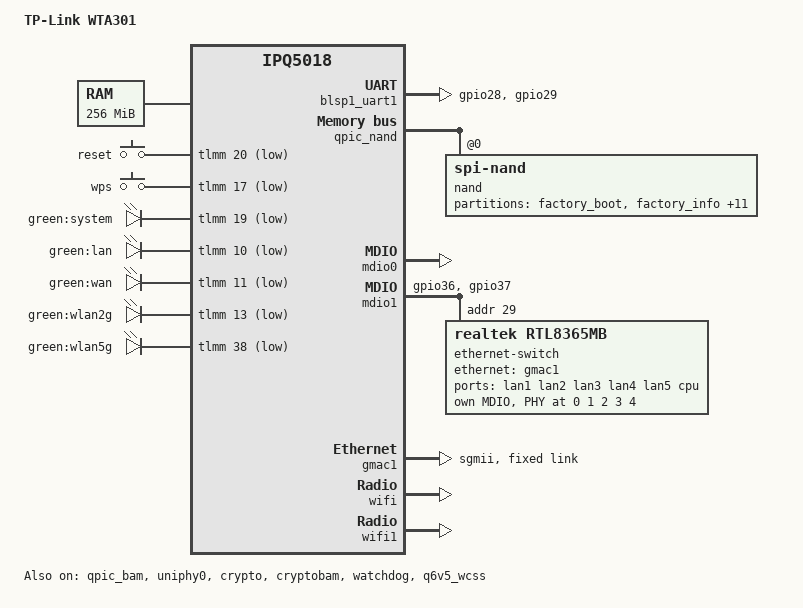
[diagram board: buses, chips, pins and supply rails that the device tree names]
// SPDX-License-Identifier: GPL-2.0-or-later OR MIT
/*
 * TP-Link WTA301 v1.1 (China Telecom AX3000)
 *
 * SoC:     Qualcomm IPQ5018 (2x Cortex-A53), 256 MiB DDR3, 128 MiB SPI-NAND
 * Switch:  Realtek RTL8367S, 5x GE front jacks, SGMII 1G trunk to gmac1
 * WiFi:    IPQ5018 internal 2.4 GHz + QCN6122 5 GHz (WCSS MPD, no PCIe)
 *
 * PROVENANCE - read before editing.
 *
 * Every value below was taken from the device tree of a WTA301 that boots and
 * runs on this board (the DTB inside the working 20,447,232-byte slot image,
 * md5 7b2996ac26e90ffed479ee19c8e0473d, built 2026-11-01 19:16).  It was NOT
 * taken from the earlier draft sources that were lying around in the tree
 * (work/op-build/dts/ipq5018-wta301.dts and its archives): those are a
 * REGRESSED copy and differ from the working board in four separate ways -
 * wifi1 disabled, 4 front ports instead of 5, 2500base-x instead of sgmii/1G,
 * and kernel/rootfs partition sizes of 0x480000/0xbc0000 instead of
 * 0x400000/0xb00000.  Trust the DTB, never those files.
 *
 * Deliberately carried over unchanged from that DTB (do not "fix" them):
 *   - reserved-memory: tz_region 4 MiB, q6_region 0x4b000000 + 0x3400000.
 *     No separate per-PD reserved regions: ath11k 6.18 resolves neither
 *     `memory-region` nor `qcom,bdf-addr` on ipq5018 (fixed_fw_mem = false,
 *     fixed_bdf_addr = true, see ath11k/core.c hw params), so the firmware
 *     gets its carveouts from TZ.  Keeping the stock layout is therefore
 *     zero-risk and saves the guessing.
 *   - nand-ecc-strength = 8 / step-size 512: the value the working DTB uses
 *     and the one this board's NAND actually needs.
 *   - SGMII at 1 Gbit on the RTL8367S trunk.  2.5G HSGMII does not come up on
 *     this board; every attempt to raise it lost the link.
 *   - No `reset-gpios` on the switch node: the bootloader brings the RTL8367S
 *     out of reset and the kernel must not touch it.
 *   - `mdio-ahb-clk`: mdio1 is fed by a 100 MHz fixed clock, not by gcc.
 *
 * v24 DELTAS vs that DTB - exactly four, nothing else:
 *   D1  ipq5018-nss.dtsi included, &nss_region pinned to 8 MiB
 *       (patch 0818 in the target defaults it to 16 MiB for 512 MB boards)
 *   D2  qcom,ath11k-fw-memory-mode = <2> on both radios (was <1>); mode 2 is
 *       what disables coldboot calibration and saves the ~64 MB
 *   D3  coherent_pool = 512K (was 2M); safe on 6.18 because
 *       mdt_load_split_segment() uses request_firmware_into_buf() and no
 *       longer bounces segments through the atomic DMA pool
 *   D4  &wifi1 explicitly `okay` (it is okay in the DTB as well - stating it
 *       here so a future edit cannot silently drop the 5 GHz radio)
 * v25.12.6 (kernel 6.12.112) ADAPTATION - the six changes below, nothing else
 * -------------------------------------------------------------------------
 * This file was carried over from the S7 tree (kernel 6.18.55). For 25.12.6 the
 * ethernet DT comes from a different place, so the includes and two reserved
 * regions change.  Everything else is byte-identical to the proven S7 DTS.
 *
 *   A1  "ipq5018-ess.dtsi" (25.12.6 ships the QSDK ESS+NSS switch version, it
 *       does NOT define &gmac0/&gmac1) is replaced by our "ipq5018-gmac.dtsi",
 *       which defines the two mainline DWMAC nodes, gmac1 with
 *       pcs-handle = <&uniphy0>.  See docs/M03 / R14.
 *   A2  "ipq5018-nss.dtsi" dropped: 25.12.6 has no NSS/EDMA at all (no
 *       kmod-qca-nss-dp, no nss_region label) and we decided pure-CPU
 *       forwarding.  &nss_region override goes away with it.
 *   A3  6.12 ipq5018.dtsi defaults differ from 6.18.55: crypto/cryptobam/
 *       watchdog are disabled upstream, S7 runs them enabled -> stated here
 *       explicitly so the board keeps today's behaviour (docs/M09).
 *   A4  pcie0/pcie1 stated disabled on purpose: QCN6122 is NOT a PCIe device
 *       on this board, it is a WCSS user PD (docs/M09).  Without this, anyone
 *       copying a Linksys/IPQ5018 board file re-enables PCIe and the 5 GHz
 *       radio stops probing.
 *   A5  coherent_pool 2M (the v24 *source* text said 512K, but the DTB that
 *       actually ran on the board has 2M - the source had drifted.  We follow
 *       the DTB, not the source text.)
 *   A6  partition table and bootargs taken from the S7 DTB, not from the v24
 *       source text: rootfs_data -> rootfs_data2, plus rootfs_data3
 *       (0x1bc0000 + 0x2440000, the live UBI overlay named "wta301data"),
 *       and no tp_header/tp_header_bak nodes (those two overlap a live slot
 *       and are absent from the running system).  13 partitions, rootfs still
 *       index 6 so root=/dev/mtdblock6 keeps working.
 *       Lesson (again): T2 actual DTB != source dts - see AGENTS-CASES 9jqrphw.
 */

/dts-v1/;

#include "ipq5018.dtsi"
#include "ipq5018-gmac.dtsi"
#include "ipq5018-qcn6122.dtsi"

#include <dt-bindings/gpio/gpio.h>
#include <dt-bindings/input/input.h>
#include <dt-bindings/leds/common.h>

/ {
	model = "TP-Link WTA301";
	compatible = "tplink,wta301", "qcom,ipq5018";

	aliases {
		serial0 = &blsp1_uart1;
		led-boot = &led_system;
		led-failsafe = &led_system;
		led-running = &led_system;
		led-upgrade = &led_system;
	};

	chosen {
		stdout-path = "serial0:115200n8";
		/*
		 * The stock U-Boot injects its own fsbootargs for the ubi.mtd
		 * layout; /chosen/bootargs-append is parsed after it and the
		 * last "root=" wins, so this decides where the kernel mounts.
		 * Slot A's rootfs is a plain squashfs on mtd6, exactly like the
		 * stock TP-Link rootfs - never name a ubi.mtd= partition here,
		 * mtd7/mtd12 belong to the stock overlay and its backup.
		 */
		bootargs-append = " root=/dev/mtdblock6 rootfstype=squashfs rootwait coherent_pool=2M ubi.mtd=rootfs_data3 fstools_overlay_name=wta301data";
	};

	memory@40000000 {
		device_type = "memory";
		reg = <0x0 0x40000000 0x0 0x10000000>;
	};

	keys {
		compatible = "gpio-keys";
		pinctrl-0 = <&button_pins>;
		pinctrl-names = "default";

		/* stock pinctrl "button_pins": wps=gpio17, reset=gpio20 */
		key-reset {
			label = "reset";
			gpios = <&tlmm 20 GPIO_ACTIVE_LOW>;
			linux,code = <KEY_RESTART>;
		};

		key-wps {
			label = "wps";
			gpios = <&tlmm 17 GPIO_ACTIVE_LOW>;
			linux,code = <KEY_WPS_BUTTON>;
		};
	};

	leds {
		compatible = "gpio-leds";
		pinctrl-0 = <&led_pins>;
		pinctrl-names = "default";

		/*
		 * The stock firmware drives the LEDs from userspace (dms), so
		 * /sys/class/leds was empty and the mapping comes from
		 * /sys/kernel/debug/gpio plus the stock pinctrl node names.
		 */
		led_system: led-19 {
			label = "green:system";
			gpios = <&tlmm 19 GPIO_ACTIVE_LOW>;
		};

		led-10 {
			label = "green:lan";
			gpios = <&tlmm 10 GPIO_ACTIVE_LOW>;
		};

		led-11 {
			label = "green:wan";
			gpios = <&tlmm 11 GPIO_ACTIVE_LOW>;
		};

		led-13 {
			label = "green:wlan2g";
			gpios = <&tlmm 13 GPIO_ACTIVE_LOW>;
		};

		led-38 {
			label = "green:wlan5g";
			gpios = <&tlmm 38 GPIO_ACTIVE_LOW>;
		};
	};

	/*
	 * mdio1 is clocked from here, not from gcc: with GCC_MDIO_AHB_CLK the
	 * RTL8367S never answers SMI (chip id reads back -ETIMEDOUT).
	 */
	mdio_ahb_clk: mdio-ahb-clk {
		compatible = "fixed-clock";
		#clock-cells = <0>;
		clock-frequency = <100000000>;
	};
};

/* 256 MB board: the stock layout is 4 MiB TZ and one 52 MiB WCSS carveout for
 * both user PDs.  6.12's ipq5018.dtsi defaults are 2 MiB / 27 MiB (and
 * ipq5018-qcn6122.dtsi raises q6_region to 48 MiB) - neither is enough here:
 * 2 MiB of TZ walks into the secure region, 48 MiB leaves the 2.4G firmware
 * with no room next to the 5G one.  docs/M07.
 */
&tz_region {
	reg = <0x0 0x4ac00000 0x0 0x400000>;
};

&q6_region {
	reg = <0x0 0x4b000000 0x0 0x3400000>;
};

&blsp1_uart1 {
	pinctrl-0 = <&serial_0_pins>;
	pinctrl-names = "default";
	status = "okay";
};

/*
 * The QPIC BAM DMA engine is "disabled" in ipq5018.dtsi by default and every
 * working IPQ board turns it on explicitly.  Without it qcom_snand fails with
 *   "qcom_snand: tx DMA channel request failed"
 * and the whole NAND (all 15 mtd partitions) never appears.
 */
&qpic_bam {
	status = "okay";
};

&qpic_nand {
	status = "okay";

	nand-ecc-strength = <8>;
	nand-ecc-step-size = <512>;

	nand@0 {
		compatible = "spi-nand";
		reg = <0>;

		nand-ecc-engine = <&qpic_nand>;
		nand-ecc-strength = <8>;
		nand-ecc-step-size = <512>;
		nand-bus-width = <8>;

		/*
		 * Hard-coded to reproduce the stock /proc/mtd numbering.  Do
		 * NOT switch this to qcom,smem-part: OpenWrt's qcomsmempart
		 * reads the u-boot published Qualcomm generic table
		 * (0:sbl1 / 0:mibib / 0:qsee / ... / rootfs / rootfs_1), not
		 * TP-Link's table, and then there is no mtd6 at all.
		 *
		 * Baseline: the offset/size pairs below are byte-identical to the
		 * factory partition table embedded in the 512-byte TP header at
		 * 0x04800000 (slot A) and 0x00800000 (slot B) of
		 * work/backup/flash_full_128M.bin.  Both headers carry the same
		 * 9 entries; slot B only differs in the four slot-relative
		 * offsets.  See work/v24-nss/P1.2-FACTORY-BASELINE-VERIFY.md.
		 *
		 * Entry ORDER matters: rootfs must stay at index 6 because the
		 * bootargs hardcode root=/dev/mtdblock6.  fixed-partitions
		 * registers children in device-tree order, not by address.
		 *
		 * U-Boot hardcodes these absolute offsets (never move them):
		 *   0x04000000  boot flag (magic 'UABF' = 55 AA 42 46)
		 *   0x04800000  firmware slot A (boot flag == 2)
		 *   0x00800000  firmware slot B (any other value)
		 * and reads the kernel FIT using the offset/size stored in the
		 * 512-byte TP header at the start of the selected slot.
		 *
		 * Deliberately NOT modelled (they are inventions of the earlier
		 * local port, absent from the factory table, and they overlap
		 * kernel+rootfs+rootfs_data): firmware@4800000 0x2620000,
		 * firmware-bak@800000 0x2620000, rootfs-data-bak@6a00000.
		 * Writing any of them would detroy a live slot.
		 */
		partitions {
			compatible = "fixed-partitions";
			#address-cells = <1>;
			#size-cells = <1>;

			factory-boot@0 {
				label = "factory_boot";
				reg = <0x0 0x3c0000>;
			};

			factory-info@400000 {
				label = "factory_info";
				reg = <0x400000 0x20000>;
			};

			art@480000 {
				label = "art";
				reg = <0x480000 0x20000>;
			};

			config@500000 {
				label = "config";
				reg = <0x500000 0x200000>;
			};

			normal-boot@4700000 {
				label = "normal_boot";
				reg = <0x4700000 0x40000>;
			};

			kernel@4880000 {
				label = "kernel";
				reg = <0x4880000 0x400000>;
			};

			rootfs@4fc0000 {
				label = "rootfs";
				reg = <0x4fc0000 0xc00000>;
			};

			/*
			 * Named rootfs_data2 (not rootfs_data) on purpose: fstools'
			 * mount_root looks for a partition named rootfs_data and would
			 * otherwise land on the 0xe0000 mtdsplit stub at the tail of
			 * the squashfs.  Naming it rootfs_data2 leaves "rootfs_data3"
			 * free to be the real overlay (UBI volume "wta301data"), which
			 * is what /chosen/bootargs-append points fstools at.
			 * This is v19-fix5's fix, proven on the board.
			 */
			rootfs-data@6a00000 {
				label = "rootfs_data2";
				reg = <0x6a00000 0x1600000>;
			};

			normal-boot-bak@700000 {
				label = "normal_boot_bak";
				reg = <0x700000 0x40000>;
			};

			kernel-bak@880000 {
				label = "kernel_bak";
				reg = <0x880000 0x400000>;
			};

			rootfs-bak@fc0000 {
				label = "rootfs_bak";
				reg = <0xfc0000 0xc00000>;
			};

			/* the live overlay: UBI, one volume "wta301data" */
			rootfs-data3@1bc0000 {
				label = "rootfs_data3";
				reg = <0x1bc0000 0x2440000>;
			};

			boot-flag@4000000 {
				label = "boot_flag";
				reg = <0x4000000 0x20000>;
			};
		};
	};
};

&mdio0 {
	/* internal GE PHY; enabled because GCC_GEPHY_MISC_ARES gates MDIO */
	status = "okay";
};

&mdio1 {
	status = "okay";
	clocks = <&mdio_ahb_clk>;
	pinctrl-0 = <&mdio1_pins>;
	pinctrl-names = "default";

	ethernet-switch@1d {
		compatible = "realtek,rtl8365mb";
		reg = <0x1d>;
		#address-cells = <1>;
		#size-cells = <0>;

		mdio {
			compatible = "realtek,smi-mdio";
			#address-cells = <1>;
			#size-cells = <0>;

			switchphy0: ethernet-phy@0 {
				reg = <0>;
			};

			switchphy1: ethernet-phy@1 {
				reg = <1>;
			};

			switchphy2: ethernet-phy@2 {
				reg = <2>;
			};

			switchphy3: ethernet-phy@3 {
				reg = <3>;
			};

			switchphy4: ethernet-phy@4 {
				reg = <4>;
			};
		};

		ports {
			#address-cells = <1>;
			#size-cells = <0>;

			port@0 {
				reg = <0>;
				label = "lan1";
				phy-handle = <&switchphy0>;
			};

			port@1 {
				reg = <1>;
				label = "lan2";
				phy-handle = <&switchphy1>;
			};

			port@2 {
				reg = <2>;
				label = "lan3";
				phy-handle = <&switchphy2>;
			};

			port@3 {
				reg = <3>;
				label = "lan4";
				phy-handle = <&switchphy3>;
			};

			port@4 {
				reg = <4>;
				label = "lan5";
				phy-handle = <&switchphy4>;
			};

			port@6 {
				reg = <6>;
				label = "cpu";
				phy-mode = "sgmii";
				ethernet = <&gmac1>;

				fixed-link {
					speed = <1000>;
					full-duplex;
				};
			};
		};
	};
};

&uniphy0 {
	status = "okay";

	assigned-clocks = <&uniphy0 UNIPHY_CLK_REF>;
	assigned-clock-rates = <UNIPHY_REFCLK_25MHZ>;
};

&gmac1 {
	status = "okay";
	phy-mode = "sgmii";

	fixed-link {
		speed = <1000>;
		full-duplex;
	};
};

/*
 * Crypto / RNG / watchdog: 6.18.55's ipq5018.dtsi leaves crypto and watchdog
 * "okay" while 6.12.112's leaves every one of them "disabled".  S7 runs with
 * them on, so state it here - otherwise the board silently loses /dev/watchdog
 * (and the crypto engine) even though both drivers are built in
 * (CRYPTO_DEV_QCE=y, QCOM_WDT=y).  docs/M09.
 */
&crypto {
	status = "okay";
};

&cryptobam {
	status = "okay";
};

&watchdog {
	status = "okay";
};

/*
 * No PCIe on this SKU.  QCN6122 (5 GHz) is a WCSS user PD, not a PCIe card:
 * the S7 board runs both radios with pcie0/pcie1 disabled.  Stated explicitly
 * so that copying a Linksys SPNMX56 / MX5500 board file cannot turn it on.
 */
&pcie0 {
	status = "disabled";
};

&pcie1 {
	status = "disabled";
};

/*
 * One multi-PD Q6 image: PD1 = IPQ5018 2.4 GHz (UPD 3, reset gpio 15),
 * PD2 = QCN6122 5 GHz (UPD 2, reset gpio 27).
 */
&q6v5_wcss {
	status = "okay";

	boot-args = </*       type: */ 0x1	/* PCIE0	*/
		     /*     length: */ 4
		     /*     UPD ID: */ 3
		     /* reset GPIO: */ 15
		     /*   reserved: */ 0 0
		     /*       type: */ 0x2	/* PCIE1	*/
		     /*     length: */ 4
		     /*     UPD ID: */ 2
		     /* reset GPIO: */ 27
		     /*   reserved: */ 0 0>;
};

/* IPQ5018 internal radio (2.4 GHz) -- stock: qcom,cnss-qca5018 */
&wifi {
	status = "okay";

	qcom,rproc = <&q6_wcss_pd1>;
	qcom,ath11k-fw-memory-mode = <2>;
	qcom,ath11k-calibration-variant = "TP-Link-WTA301";
	qcom,bdf-addr = <0x4c400000>;
};

/* QCN6122 over WCSS MPD (5 GHz) -- stock: qcom,cnss-qcn6122 */
&wifi1 {
	status = "okay";

	qcom,rproc = <&q6_wcss_pd2>;
	qcom,userpd-subsys-name = "q6v5_wcss_userpd2";
	qcom,ath11k-fw-memory-mode = <2>;
	qcom,ath11k-calibration-variant = "TP-Link-WTA301";
	qcom,bdf-addr = <0x4d300000>;
	qcom,m3-dump-addr = <0x4e200000>;
};

&tlmm {
	button_pins: button-state {
		wps_button {
			pins = "gpio17";
			function = "gpio";
			drive-strength = <8>;
			bias-disable;
		};

		reset_button {
			pins = "gpio20";
			function = "gpio";
			drive-strength = <8>;
			bias-disable;
		};
	};

	led_pins: led-state {
		led_system_pin {
			pins = "gpio19";
			function = "gpio";
			drive-strength = <8>;
			bias-disable;
		};

		led_lan_pin {
			pins = "gpio10";
			function = "gpio";
			drive-strength = <8>;
			bias-disable;
		};

		led_wan_pin {
			pins = "gpio11";
			function = "gpio";
			drive-strength = <8>;
			bias-disable;
		};

		led_2g_pin {
			pins = "gpio13";
			function = "gpio";
			drive-strength = <8>;
			bias-disable;
		};

		led_5g_pin {
			pins = "gpio38";
			function = "gpio";
			drive-strength = <8>;
			bias-disable;
		};
	};

	/* stock "mdio_pinmux": gpio36=mdc, gpio37=mdio */
	mdio1_pins: mdio-state {
		mdc-pins {
			pins = "gpio36";
			function = "mdc";
			drive-strength = <8>;
			bias-pull-up;
		};

		mdio-pins {
			pins = "gpio37";
			function = "mdio";
			drive-strength = <8>;
			bias-pull-up;
		};
	};

	/* stock "blsp0_uart_pins": gpio28=rx, gpio29=tx, blsp0_uart1 */
	serial_0_pins: serial0-state {
		mux {
			pins = "gpio28", "gpio29";
			function = "blsp0_uart1";
			drive-strength = <8>;
			bias-disable;
		};
	};
};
